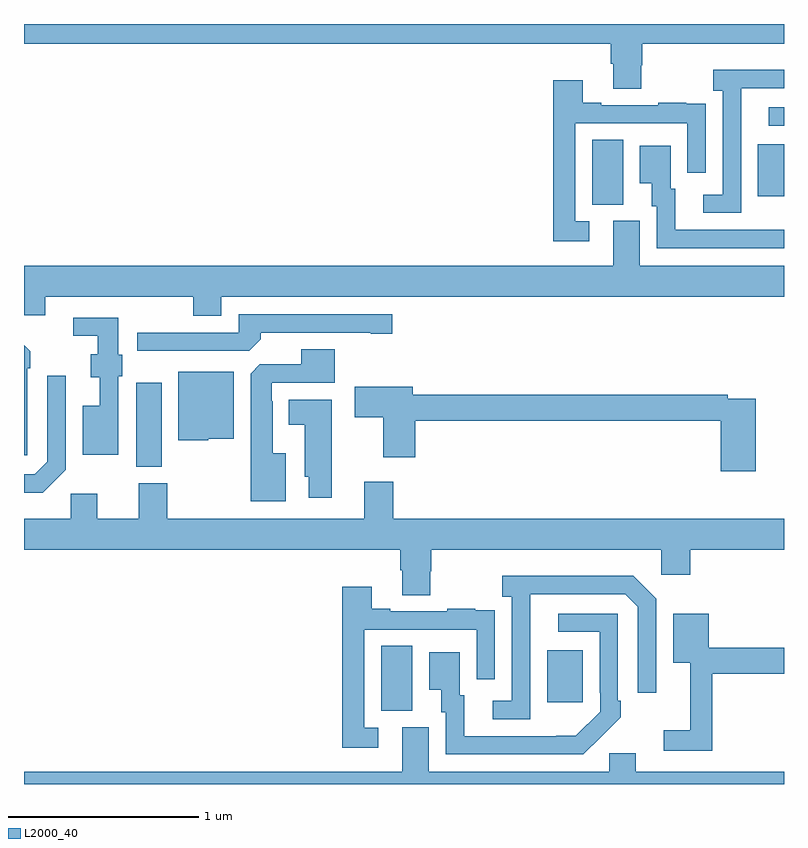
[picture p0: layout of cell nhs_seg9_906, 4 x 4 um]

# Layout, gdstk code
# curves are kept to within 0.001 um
import gdstk
lib = gdstk.Library(unit=1e-6, precision=1e-09)
def R(c, l, rs):  # rectangles x0, y0, x1, y1
    for r in rs: c.add(gdstk.rectangle(r[:2], r[2:], *l))
def P(c, l, *ps):  # polygons
    for p in ps: c.add(gdstk.Polygon(p, *l))
L2000_40 = (2000, 40)

nhs_seg9_906 = lib.new_cell('nhs_seg9_906')
R(nhs_seg9_906, L2000_40, [(160.88,1216.885,161.044,1217.228), (161.753,1216.929,161.941,1217.203), (159.59,1218.169,159.724,1218.613), (161.99,1219.549,162.154,1219.892), (162.863,1219.593,163,1219.867), (162.921,1219.965,163,1220.061)])
P(nhs_seg9_906, L2000_40, [(162.249,1220.283),(162.254,1220.283),(162.254,1220.396),(163,1220.396),(163,1220.5),(159,1220.5),(159,1220.396),(162.089,1220.396),(162.089,1220.29),(162.101,1220.29),(162.101,1220.158),(162.249,1220.158)],
  [(162.774,1219.963),(162.775,1219.963),(162.775,1220.163),(163,1220.163),(163,1220.26),(162.627,1220.26),(162.627,1220.15),(162.678,1220.15),(162.678,1219.602),(162.576,1219.602),(162.576,1219.506),(162.774,1219.506)],
  [(161.974,1219.461),(161.901,1219.461),(161.901,1219.977),(162.492,1219.977),(162.492,1219.716),(162.588,1219.716),(162.588,1219.97),(162.587,1219.97),(162.587,1220.079),(162.485,1220.079),(162.485,1220.086),(162.337,1220.086),(162.337,1220.073),(162.037,1220.073),(162.037,1220.086),(161.941,1220.086),(161.941,1220.203),(161.785,1220.203),(161.785,1219.356),(161.974,1219.356)],
  [(163,1219.417),(162.911,1219.417),(162.911,1219.416),(162.427,1219.416),(162.427,1219.632),(162.403,1219.632),(162.403,1219.858),(162.242,1219.858),(162.242,1219.661),(162.305,1219.661),(162.305,1219.542),(162.33,1219.542),(162.33,1219.32),(163,1219.32)],
  [(160.039,1219.064),(163,1219.064),(163,1219.228),(162.241,1219.228),(162.241,1219.464),(162.101,1219.464),(162.101,1219.228),(159,1219.228),(159,1218.966),(159.112,1218.966),(159.112,1219.064),(159.892,1219.064),(159.892,1218.965),(160.039,1218.965)],
  [(160.247,1218.842),(160.247,1218.876),(160.826,1218.876),(160.826,1218.871),(160.939,1218.871),(160.939,1218.972),(160.131,1218.972),(160.131,1218.876),(159.597,1218.876),(159.597,1218.78),(160.185,1218.78)],
  [(159.495,1218.645),(159.516,1218.645),(159.516,1218.759),(159.495,1218.759),(159.495,1218.954),(159.258,1218.954),(159.258,1218.858),(159.387,1218.858),(159.387,1218.763),(159.35,1218.763),(159.35,1218.641),(159.398,1218.641),(159.398,1218.49),(159.308,1218.49),(159.308,1218.233),(159.495,1218.233)],
  [(159.018,1218.689),(159.033,1218.689),(159.033,1218.777),(159,1218.81),(159,1218.231),(159.018,1218.231)],
  [(160.378,1218.241),(160.309,1218.241),(160.309,1218.515),(160.305,1218.515),(160.305,1218.612),(160.636,1218.612),(160.636,1218.787),(160.46,1218.787),(160.46,1218.708),(160.242,1218.708),(160.193,1218.659),(160.193,1217.987),(160.378,1217.987)],
  [(159.969,1218.317),(160.105,1218.317),(160.105,1218.67),(159.812,1218.67),(159.812,1218.308),(159.969,1218.308)],
  [(159.219,1218.153),(159.219,1218.649),(159.123,1218.649),(159.123,1218.195),(159.057,1218.129),(159,1218.129),(159,1218.032),(159.098,1218.032)],
  [(162.851,1218.528),(162.704,1218.528),(162.704,1218.548),(161.047,1218.548),(161.047,1218.592),(160.74,1218.592),(160.74,1218.43),(160.892,1218.43),(160.892,1218.219),(161.06,1218.219),(161.06,1218.412),(162.668,1218.412),(162.668,1218.147),(162.851,1218.147)],
  [(160.621,1218.523),(160.394,1218.523),(160.394,1218.392),(160.478,1218.392),(160.478,1218.117),(160.499,1218.117),(160.499,1218.006),(160.621,1218.006)],
  [(161.139,1217.619),(161.144,1217.619),(161.144,1217.732),(162.354,1217.732),(162.354,1217.601),(162.506,1217.601),(162.506,1217.732),(163,1217.732),(163,1217.896),(160.943,1217.896),(160.943,1218.091),(160.79,1218.091),(160.79,1217.896),(159.753,1217.896),(159.753,1218.084),(159.605,1218.084),(159.605,1217.896),(159.385,1217.896),(159.385,1218.028),(159.246,1218.028),(159.246,1217.896),(159,1217.896),(159,1217.732),(160.979,1217.732),(160.979,1217.626),(160.991,1217.626),(160.991,1217.494),(161.139,1217.494)],
  [(161.664,1217.299),(161.665,1217.499),(162.165,1217.499),(162.231,1217.433),(162.231,1216.98),(162.327,1216.98),(162.327,1217.475),(162.206,1217.596),(161.517,1217.596),(161.517,1217.486),(161.568,1217.486),(161.568,1216.938),(161.466,1216.938),(161.466,1216.842),(161.664,1216.842)],
  [(160.864,1216.797),(160.791,1216.797),(160.791,1217.313),(161.382,1217.313),(161.382,1217.052),(161.478,1217.052),(161.478,1217.306),(161.477,1217.306),(161.477,1217.415),(161.375,1217.415),(161.375,1217.422),(161.227,1217.422),(161.227,1217.409),(160.927,1217.409),(160.927,1217.422),(160.831,1217.422),(160.831,1217.539),(160.675,1217.539),(160.675,1216.692),(160.864,1216.692)],
  [(162.035,1216.747),(162.036,1216.746),(162.141,1216.851),(162.141,1216.939),(162.126,1216.939),(162.126,1217.397),(161.811,1217.397),(161.811,1217.301),(162.03,1217.301),(162.03,1216.981),(162.033,1216.981),(162.033,1216.881),(161.905,1216.753),(161.317,1216.752),(161.317,1216.968),(161.293,1216.968),(161.293,1217.194),(161.132,1217.194),(161.132,1216.997),(161.195,1216.997),(161.195,1216.878),(161.22,1216.878),(161.22,1216.656),(161.944,1216.656)],
  [(162.623,1217.08),(163,1217.08),(163,1217.216),(162.603,1217.216),(162.603,1217.395),(162.416,1217.395),(162.416,1217.138),(162.506,1217.138),(162.506,1216.783),(162.366,1216.783),(162.366,1216.674),(162.623,1216.674)],
  [(163,1216.564),(162.22,1216.564),(162.22,1216.662),(162.081,1216.662),(162.081,1216.564),(161.131,1216.564),(161.131,1216.8),(160.991,1216.8),(160.991,1216.564),(159,1216.564),(159,1216.5),(163,1216.5)])

lib.write_gds('nhs_seg9_906.gds')
